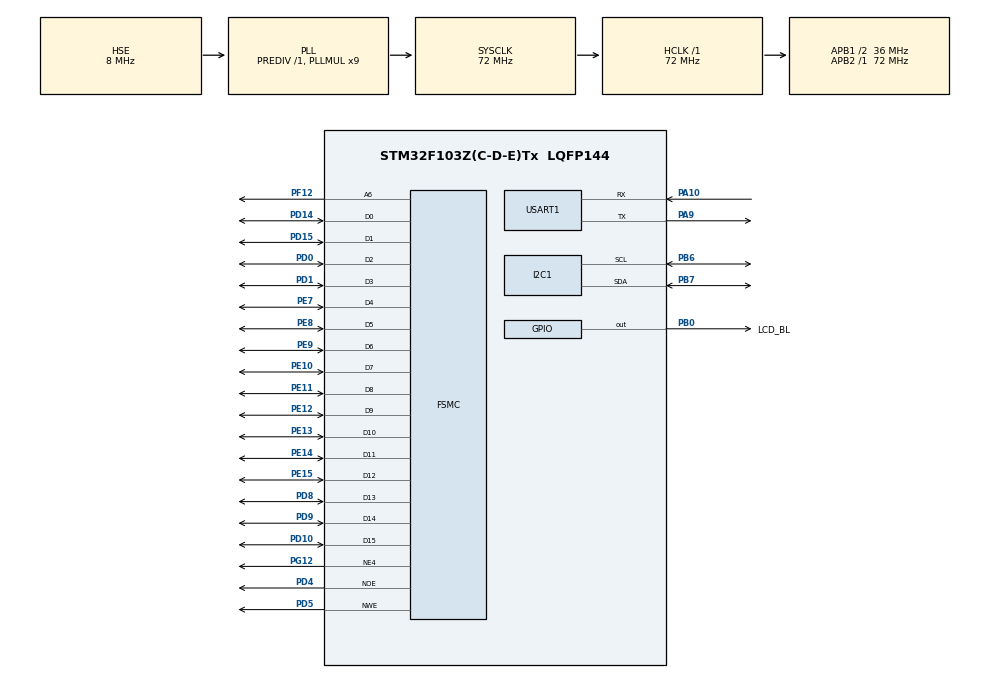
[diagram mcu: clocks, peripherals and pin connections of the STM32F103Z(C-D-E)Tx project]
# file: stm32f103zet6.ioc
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FSMC.AddressSetupTime4=6
FSMC.BusTurnAroundDuration4=0
FSMC.DataSetupTime4=26
FSMC.ExtendedAddressSetupTime4=3
FSMC.ExtendedBusTurnAroundDuration4=0
FSMC.ExtendedDataSetupTime4=6
FSMC.ExtendedMode4=FSMC_EXTENDED_MODE_ENABLE
I2C1.I2C_Mode=I2C_Fast
Mcu.Family=STM32F1
Mcu.Name=STM32F103Z(C-D-E)Tx
Mcu.Package=LQFP144
NVIC.PriorityGroup=NVIC_PRIORITYGROUP_4
OSC_IN.Mode=HSE-External-Oscillator
OSC_IN.Signal=RCC_OSC_IN
OSC_OUT.Mode=HSE-External-Oscillator
OSC_OUT.Signal=RCC_OSC_OUT
PA10.Mode=Asynchronous
PA10.Signal=USART1_RX
PA13.Mode=Serial_Wire
PA13.Signal=SYS_JTMS-SWDIO
PA14.Mode=Serial_Wire
PA14.Signal=SYS_JTCK-SWCLK
PA9.Mode=Asynchronous
PA9.Signal=USART1_TX
PB0.GPIO_Label=LCD_BL
PB0.Signal=GPIO_Output
PB6.Mode=I2C
PB6.Signal=I2C1_SCL
PB7.Mode=I2C
PB7.Signal=I2C1_SDA
PD0.Signal=FSMC_D2_DA2
PD1.Signal=FSMC_D3_DA3
PD10.Signal=FSMC_D15_DA15
PD14.Signal=FSMC_D0_DA0
PD15.Signal=FSMC_D1_DA1
PD4.Signal=FSMC_NOE
PD5.Signal=FSMC_NWE
PD8.Signal=FSMC_D13_DA13
PD9.Signal=FSMC_D14_DA14
PE10.Signal=FSMC_D7_DA7
PE11.Signal=FSMC_D8_DA8
PE12.Signal=FSMC_D9_DA9
PE13.Signal=FSMC_D10_DA10
PE14.Signal=FSMC_D11_DA11
PE15.Signal=FSMC_D12_DA12
PE7.Signal=FSMC_D4_DA4
PE8.Signal=FSMC_D5_DA5
PE9.Signal=FSMC_D6_DA6
PF12.Signal=FSMC_A6
PG12.Mode=NorPsramChipSelect4_4
PG12.Signal=FSMC_NE4
ProjectManager.HeapSize=0x200
ProjectManager.StackSize=0x400
ProjectManager.TargetToolchain=STM32CubeIDE
RCC.AHBFreq_Value=72000000
RCC.APB1CLKDivider=RCC_HCLK_DIV2
RCC.APB1Freq_Value=36000000
RCC.APB1TimFreq_Value=72000000
RCC.APB2Freq_Value=72000000
RCC.APB2TimFreq_Value=72000000
RCC.HCLKFreq_Value=72000000
RCC.PLLMUL=RCC_PLL_MUL9
RCC.PLLSourceVirtual=RCC_PLLSOURCE_HSE
RCC.SYSCLKFreq_VALUE=72000000
RCC.SYSCLKSource=RCC_SYSCLKSOURCE_PLLCLK
RCC.USBFreq_Value=72000000
SH.FSMC_A6.0=FSMC_A6,A6_4
SH.FSMC_D0_DA0.0=FSMC_D0,16b-d4
SH.FSMC_D10_DA10.0=FSMC_D10,16b-d4
SH.FSMC_D11_DA11.0=FSMC_D11,16b-d4
SH.FSMC_D12_DA12.0=FSMC_D12,16b-d4
SH.FSMC_D13_DA13.0=FSMC_D13,16b-d4
SH.FSMC_D14_DA14.0=FSMC_D14,16b-d4
SH.FSMC_D15_DA15.0=FSMC_D15,16b-d4
SH.FSMC_D1_DA1.0=FSMC_D1,16b-d4
SH.FSMC_D2_DA2.0=FSMC_D2,16b-d4
SH.FSMC_D3_DA3.0=FSMC_D3,16b-d4
SH.FSMC_D4_DA4.0=FSMC_D4,16b-d4
SH.FSMC_D5_DA5.0=FSMC_D5,16b-d4
SH.FSMC_D6_DA6.0=FSMC_D6,16b-d4
SH.FSMC_D7_DA7.0=FSMC_D7,16b-d4
SH.FSMC_D8_DA8.0=FSMC_D8,16b-d4
SH.FSMC_D9_DA9.0=FSMC_D9,16b-d4
SH.FSMC_NOE.0=FSMC_NOE,Lcd4
SH.FSMC_NWE.0=FSMC_NWE,Lcd4
USART1.VirtualMode=VM_ASYNC
board=custom

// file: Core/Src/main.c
/* USER CODE BEGIN Header */
/**
  ******************************************************************************
  * @file           : main.c
  * @brief          : Main program body
  ******************************************************************************
  * @attention
  *
  * Copyright (c) 2022 STMicroelectronics.
  * All rights reserved.
  *
  * This software is licensed under terms that can be found in the LICENSE file
  * in the root directory of this software component.
  * If no LICENSE file comes with this software, it is provided AS-IS.
  *
  ******************************************************************************
  */
/* USER CODE END Header */
#include "main.h"
#include "i2c.h"
#include "usart.h"
#include "gpio.h"
#include "fsmc.h"

/* USER CODE BEGIN Includes */
#include "tftlcd.h"
#include "stdio.h"
#include "stdlib.h"
#include "string.h"

#ifdef __GNUC__
#define PUTCHAR_PROTOTYPE int __io_putchar(int ch)
#else
#define PUTCHAR_PROTOTYPE int fputc(int ch, FILE *f)
#endif
PUTCHAR_PROTOTYPE
{
    HAL_UART_Transmit(&huart1, (uint8_t*)&ch,1,HAL_MAX_DELAY);
    return ch;
}

/* USER CODE END Includes */

void SystemClock_Config(void);

int main(void)
{

  /* MCU Configuration--------------------------------------------------------*/

  /* Reset of all peripherals, Initializes the Flash interface and the Systick. */
  HAL_Init();

  /* Configure the system clock */
  SystemClock_Config();

  /* Initialize all configured peripherals */
  MX_GPIO_Init();
  MX_USART1_UART_Init();
  MX_I2C1_Init();
  MX_FSMC_Init();
  /* USER CODE BEGIN 2 */
    TFTLCD_Init();
    POINT_COLOR = BLACK;

    static uint32_t i=0;

  /* USER CODE END 2 */

  /* Infinite loop */
  while (1)
  {

    /* USER CODE BEGIN 3 */
      LCD_ShowNum(30,40,i,10,24);
  }
  /* USER CODE END 3 */
}

void SystemClock_Config(void)
{
  RCC_OscInitTypeDef RCC_OscInitStruct = {0};
  RCC_ClkInitTypeDef RCC_ClkInitStruct = {0};

  /** Initializes the RCC Oscillators according to the specified parameters
  * in the RCC_OscInitTypeDef structure.
  */
  RCC_OscInitStruct.OscillatorType = RCC_OSCILLATORTYPE_HSE;
  RCC_OscInitStruct.HSEState = RCC_HSE_ON;
  RCC_OscInitStruct.HSEPredivValue = RCC_HSE_PREDIV_DIV1;
  RCC_OscInitStruct.HSIState = RCC_HSI_ON;
  RCC_OscInitStruct.PLL.PLLState = RCC_PLL_ON;
  RCC_OscInitStruct.PLL.PLLSource = RCC_PLLSOURCE_HSE;
  RCC_OscInitStruct.PLL.PLLMUL = RCC_PLL_MUL9;
  if (HAL_RCC_OscConfig(&RCC_OscInitStruct) != HAL_OK)
  {
    Error_Handler();
  }

  /** Initializes the CPU, AHB and APB buses clocks
  */
  RCC_ClkInitStruct.ClockType = RCC_CLOCKTYPE_HCLK|RCC_CLOCKTYPE_SYSCLK
                              |RCC_CLOCKTYPE_PCLK1|RCC_CLOCKTYPE_PCLK2;
  RCC_ClkInitStruct.SYSCLKSource = RCC_SYSCLKSOURCE_PLLCLK;
  RCC_ClkInitStruct.AHBCLKDivider = RCC_SYSCLK_DIV1;
  RCC_ClkInitStruct.APB1CLKDivider = RCC_HCLK_DIV2;
  RCC_ClkInitStruct.APB2CLKDivider = RCC_HCLK_DIV1;

  if (HAL_RCC_ClockConfig(&RCC_ClkInitStruct, FLASH_LATENCY_2) != HAL_OK)
  {
    Error_Handler();
  }
}

void Error_Handler(void)
{
  __disable_irq();
  while (1)
  {
  }
}
